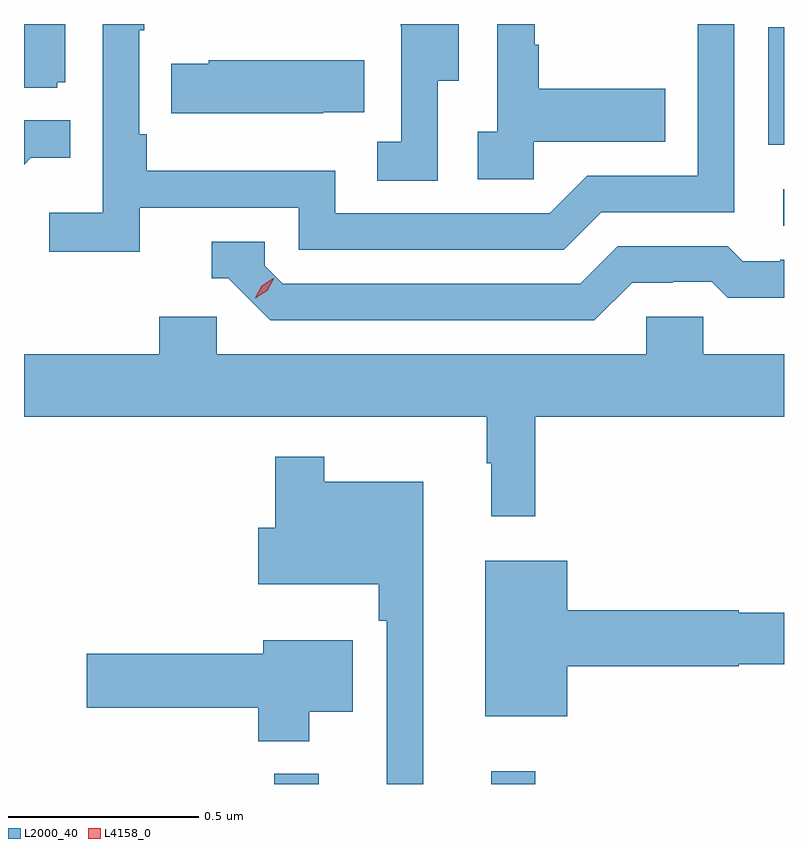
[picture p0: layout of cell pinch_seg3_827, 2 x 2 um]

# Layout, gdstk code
import gdstk
lib = gdstk.Library(unit=1e-6, precision=1e-09)
def R(c, l, rs):  # rectangles x0, y0, x1, y1
    for r in rs: c.add(gdstk.rectangle(r[:2], r[2:], *l))
def P(c, l, *ps):  # polygons
    for p in ps: c.add(gdstk.Polygon(p, *l))
L2000_40 = (2000, 40)
L4158_0 = (4158, 0)

pinch_seg3_827 = lib.new_cell('pinch_seg3_827')
R(pinch_seg3_827, L2000_40, [(887.329,721.261,887.447,721.288), (887.9,721.261,888.017,721.294), (888.669,722.73,888.671,722.826), (888.63,722.943,888.671,723.252)])
P(pinch_seg3_827, L2000_40, [(886.976,722.778),(887.394,722.778),(887.394,722.667),(888.091,722.667),(888.19,722.766),(888.54,722.766),(888.54,723.261),(888.444,723.261),(888.444,722.862),(888.153,722.862),(888.054,722.763),(887.49,722.763),(887.49,722.875),(886.994,722.875),(886.994,722.971),(886.974,722.971),(886.974,723.244),(886.987,723.244),(886.987,723.261),(886.878,723.261),(886.878,722.764),(886.737,722.764),(886.737,722.662),(886.976,722.662)],
  [(888.012,722.951),(888.359,722.951),(888.359,723.091),(888.025,723.091),(888.025,723.206),(888.015,723.206),(888.015,723.261),(887.916,723.261),(887.916,722.978),(887.865,722.978),(887.865,722.853),(888.012,722.853)],
  [(887.76,723.112),(887.815,723.112),(887.815,723.261),(887.663,723.261),(887.663,723.255),(887.664,723.255),(887.664,722.951),(887.601,722.951),(887.601,722.848),(887.76,722.848)],
  [(886.758,723.108),(886.78,723.108),(886.78,723.261),(886.671,723.261),(886.671,723.093),(886.758,723.093)],
  [(887.459,723.029),(887.567,723.029),(887.567,723.166),(887.157,723.166),(887.157,723.156),(887.059,723.156),(887.059,723.026),(887.459,723.026)],
  [(886.689,722.909),(886.793,722.909),(886.793,723.008),(886.671,723.008),(886.671,722.891)],
  [(888.271,722.58),(888.378,722.58),(888.378,722.583),(888.481,722.583),(888.523,722.541),(888.671,722.541),(888.671,722.64),(888.661,722.64),(888.661,722.637),(888.562,722.637),(888.523,722.676),(888.234,722.676),(888.135,722.577),(887.352,722.577),(887.304,722.625),(887.304,722.688),(887.165,722.688),(887.165,722.592),(887.208,722.592),(887.319,722.481),(888.172,722.481)],
  [(888.017,722.228),(888.671,722.228),(888.671,722.392),(888.459,722.392),(888.459,722.49),(888.309,722.49),(888.309,722.392),(887.178,722.392),(887.178,722.49),(887.027,722.49),(887.027,722.392),(886.671,722.392),(886.671,722.228),(887.889,722.228),(887.889,722.105),(887.9,722.105),(887.9,721.965),(888.017,721.965)],
  [(887.722,722.056),(887.461,722.056),(887.461,722.122),(887.332,722.122),(887.332,721.935),(887.288,721.935),(887.288,721.787),(887.605,721.787),(887.605,721.691),(887.625,721.691),(887.625,721.261),(887.722,721.261)],
  [(888.1,721.571),(888.552,721.571),(888.552,721.576),(888.671,721.576),(888.671,721.712),(888.552,721.712),(888.552,721.718),(888.1,721.718),(888.1,721.849),(887.885,721.849),(887.885,721.439),(888.1,721.439)],
  [(887.422,721.451),(887.536,721.451),(887.536,721.639),(887.3,721.639),(887.3,721.604),(886.836,721.604),(886.836,721.462),(887.288,721.462),(887.288,721.373),(887.422,721.373)])
P(pinch_seg3_827, L4158_0, [(887.28,722.539),(887.28,722.54),(887.296,722.572),(887.327,722.592),(887.328,722.592),(887.328,722.591),(887.311,722.559),(887.28,722.539)])

lib.write_gds('pinch_seg3_827.gds')
